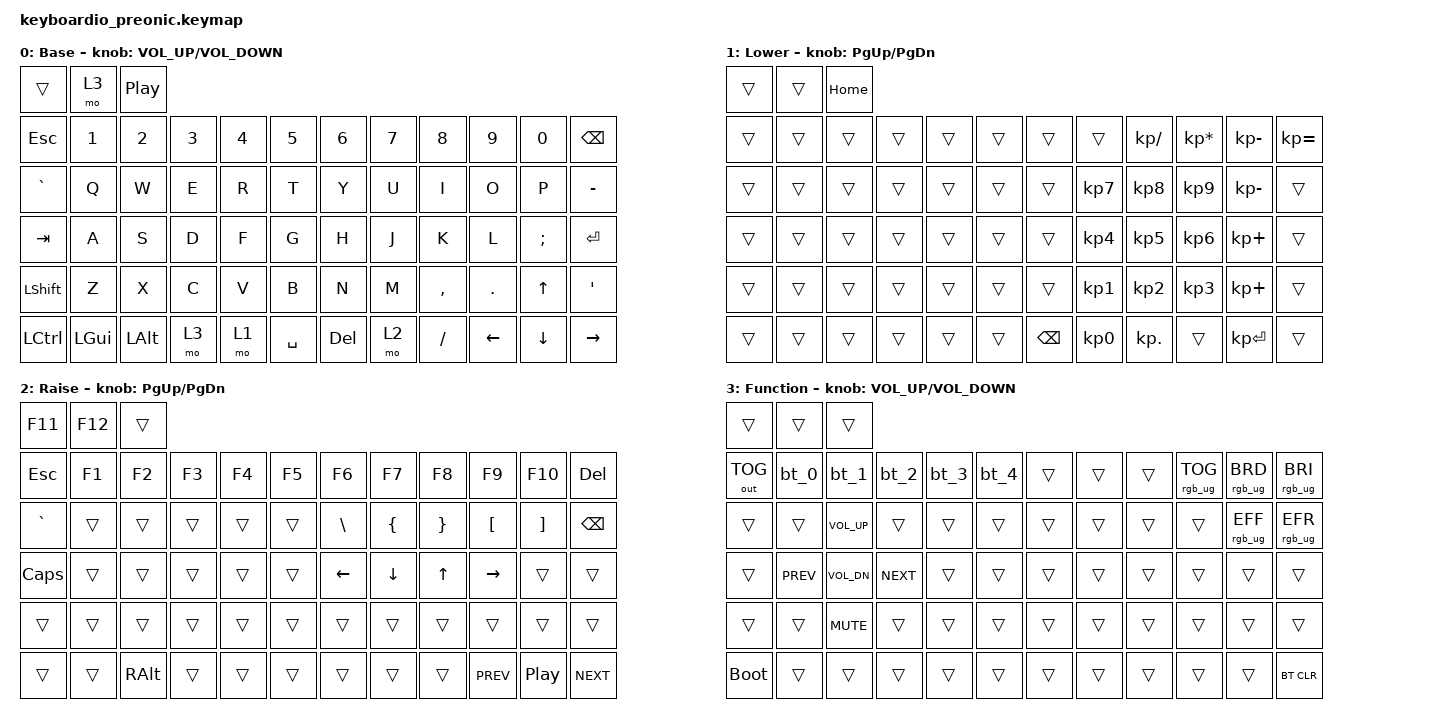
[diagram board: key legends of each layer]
#include <behaviors.dtsi>
#include <dt-bindings/zmk/keys.h>
#include <dt-bindings/zmk/bt.h>
#include <dt-bindings/zmk/outputs.h>
#include <dt-bindings/zmk/backlight.h>
#include <dt-bindings/zmk/rgb.h>

// 親指LT機能の連打バグ防止設定
&lt { quick_tap_ms = <200>; };

/ {
    chosen {
        // すべて1Uの均等な格子状（Orthoレイアウト）を明示
        zmk,physical-layout = &ortho_layout;
    };

    // ── Bluetooth切り替えと同時にLEDインジケータを連動させるカスタムマクロ定義 ──
    macros {
        bt_0: bt_0 {
            compatible = "zmk,behavior-macro";
            #binding-cells = <0>;
            bindings =
                <&rgb_ug RGB_COLOR_HSB(128,100,10)>,
                <&bt BT_SEL 0>;
        };
        bt_1: bt_1 {
            compatible = "zmk,behavior-macro";
            #binding-cells = <0>;
            wait-ms = <40>;
            tap-ms = <40>;
            bindings =
                <&rgb_ug RGB_COLOR_HSB(0,100,10)>,
                <&bt BT_SEL 1>;
        };
        bt_2: bt_2 {
            compatible = "zmk,behavior-macro";
            #binding-cells = <0>;
            wait-ms = <40>;
            tap-ms = <40>;
            bindings =
                <&rgb_ug RGB_COLOR_HSB(300,100,10)>,
                <&bt BT_SEL 2>;
        };
        bt_3: bt_3 {
            compatible = "zmk,behavior-macro";
            #binding-cells = <0>;
            wait-ms = <40>;
            tap-ms = <40>;
            bindings =
                <&rgb_ug RGB_COLOR_HSB(250,100,10)>,
                <&bt BT_SEL 3>;
        };
        bt_4: bt_4 {
            compatible = "zmk,behavior-macro";
            #binding-cells = <0>;
            wait-ms = <40>;
            tap-ms = <40>;
            bindings =
                <&rgb_ug RGB_COLOR_HSB(50,100,10)>,
                <&bt BT_SEL 4>;
        };
    };

    keymap {
        compatible = "zmk,keymap";

        // ==========================================
        // レイヤー 0 : デフォルト（Base）レイヤー
        // ==========================================
        base_layer {
            label = "Base";
            bindings = <
// ── 最上段：ノブ周辺（3キー分） ──────────────────────────────────
 &trans      &mo 3       &kp C_PP

// ── メイングリッド（12列 × 5段） ─────────────────────────────────
 &kp ESC     &kp N1      &kp N2      &kp N3      &kp N4      &kp N5      &kp N6      &kp N7      &kp N8      &kp N9      &kp N0      &kp BKSP
 &kp GRAVE   &kp Q       &kp W       &kp E       &kp R       &kp T       &kp Y       &kp U       &kp I       &kp O       &kp P       &kp MINUS
 &kp TAB     &kp A       &kp S       &kp D       &kp F       &kp G       &kp H       &kp J       &kp K       &kp L       &kp SEMI    &kp ENTER
 &kp LSHFT   &kp Z       &kp X       &kp C       &kp V       &kp B       &kp N       &kp M       &kp COMMA   &kp PERIOD  &kp UP      &kp SQT
 &kp LCTRL   &kp LGUI    &kp LALT    &mo 3       &mo 1       &kp SPACE   &kp DEL     &mo 2       &kp SLASH   &kp LEFT    &kp DOWN    &kp RIGHT
            >;
            sensor-bindings = <&inc_dec_kp C_VOLUME_UP C_VOLUME_DOWN>;            
        };

        // ==========================================
        // レイヤー 1 : テンキー（Lower）レイヤー
        // ==========================================
        lower_layer {
            label = "Lower";
            bindings = <
 &trans      &trans      &kp HOME

 &trans      &trans      &trans      &trans      &trans      &trans      &trans      &trans      &kp KP_DIVIDE &kp KP_MULTIPLY &kp KP_MINUS &kp KP_EQUAL
 &trans      &trans      &trans      &trans      &trans      &trans      &trans      &kp KP_N7   &kp KP_N8     &kp KP_N9       &kp KP_MINUS &trans
 &trans      &trans      &trans      &trans      &trans      &trans      &trans      &kp KP_N4   &kp KP_N5     &kp KP_N6       &kp KP_PLUS  &trans
 &trans      &trans      &trans      &trans      &trans      &trans      &trans      &kp KP_N1   &kp KP_N2     &kp KP_N3       &kp KP_PLUS  &trans
 &trans      &trans      &trans      &trans      &trans      &trans      &kp BKSP    &kp KP_N0   &kp KP_DOT    &trans          &kp KP_ENTER &trans
            >;
            sensor-bindings = <&inc_dec_kp PG_UP PG_DN>;
        };

        // ==========================================
        // レイヤー 2 : 記号・ファンクション（Raise）レイヤー
        // ==========================================
        raise_layer {
            label = "Raise";
            bindings = <
 &kp F11     &kp F12     &trans

 &kp ESC     &kp F1      &kp F2      &kp F3      &kp F4      &kp F5      &kp F6      &kp F7      &kp F8      &kp F9      &kp F10     &kp DEL
 &kp GRAVE   &trans      &trans      &trans      &trans      &trans      &kp BSLH    &kp LBRC    &kp RBRC    &kp LBKT    &kp RBKT    &kp BKSP
 &kp CAPS    &trans      &trans      &trans      &trans      &trans      &kp LEFT    &kp DOWN    &kp UP      &kp RIGHT   &trans      &trans
 &trans      &trans      &trans      &trans      &trans      &trans      &trans      &trans      &trans      &trans      &trans      &trans
 &trans      &trans      &kp RALT    &trans      &trans      &trans      &trans      &trans      &trans      &kp C_PREV  &kp C_PP    &kp C_NEXT
            >;
            sensor-bindings = <&inc_dec_kp PG_UP PG_DN>;
        };

        // ==========================================
        // レイヤー 3 : システム・メディア（Function）レイヤー 【LEDマクロ適用】
        // ==========================================
        func_layer {
            label = "Function";
            bindings = <
 &trans      &trans      &trans

 &out OUT_TOG &bt_0        &bt_1        &bt_2        &bt_3        &bt_4        &trans      &trans      &trans      &rgb_ug RGB_TOG &rgb_ug RGB_BRD &rgb_ug RGB_BRI
 &trans      &trans      &kp C_VOL_UP &trans      &trans      &trans      &trans      &trans      &trans      &trans      &rgb_ug RGB_EFF &rgb_ug RGB_EFR
 &trans      &kp C_PREV  &kp C_VOL_DN &kp C_NEXT  &trans      &trans      &trans      &trans      &trans      &trans      &trans      &trans
 &trans      &trans      &kp C_MUTE   &trans      &trans      &trans      &trans      &trans      &trans      &trans      &trans      &trans
 &bootloader &trans      &trans      &trans      &trans      &trans      &trans      &trans      &trans      &trans      &trans      &bt BT_CLR
            >;
            sensor-bindings = <&inc_dec_kp C_VOLUME_UP C_VOLUME_DOWN>;
        };
    };
};
